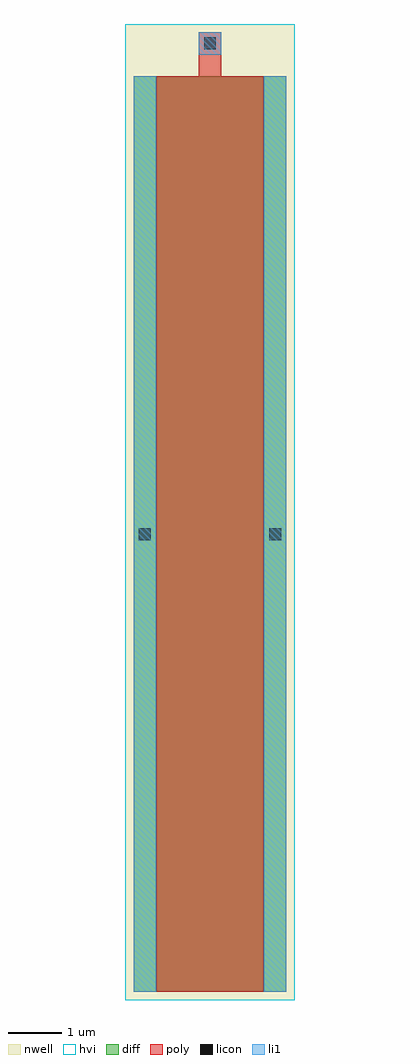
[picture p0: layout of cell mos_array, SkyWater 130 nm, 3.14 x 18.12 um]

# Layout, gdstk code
import gdstk
lib = gdstk.Library(unit=1e-6, precision=1e-09)
def R(c, l, rs):  # rectangles x0, y0, x1, y1
    for r in rs: c.add(gdstk.rectangle(r[:2], r[2:], *l))
nwell = (64, 20)
diff = (65, 20)
poly = (66, 20)
licon = (66, 44)
li1 = (67, 20)
hvi = (75, 20)

mos_array = lib.new_cell('mos_array')
R(mos_array, nwell, [(-0.15,-0.15,2.99,17.97)])
R(mos_array, diff, [(0,0,2.84,17)])
R(mos_array, poly, [(0.42,0,2.42,17), (1.21,17,1.63,17.82)])
R(mos_array, licon, [(0.1,8.39,0.32,8.61), (2.52,8.39,2.74,8.61), (1.31,17.5,1.53,17.72)])
R(mos_array, li1, [(0,0,0.42,17), (2.42,0,2.84,17), (1.21,17.4,1.63,17.82)])
R(mos_array, hvi, [(-0.15,-0.15,2.99,17.97)])

lib.write_gds('mos_array.gds')
